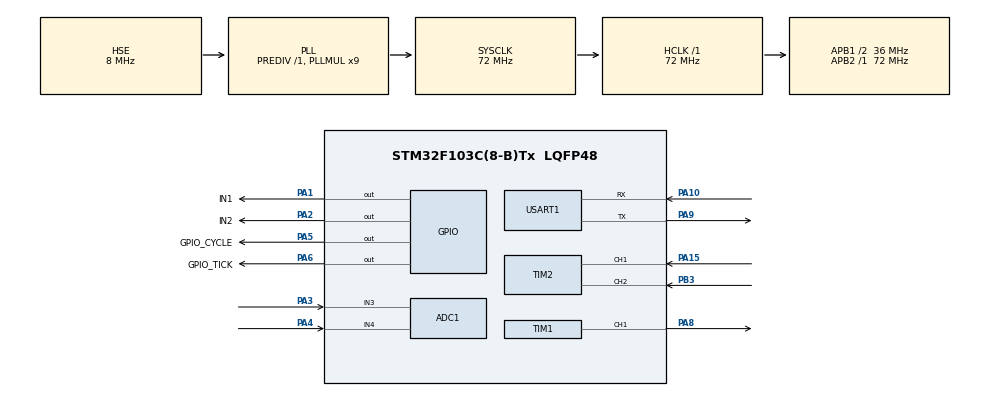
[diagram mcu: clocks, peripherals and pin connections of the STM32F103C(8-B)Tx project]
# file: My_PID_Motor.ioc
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ADC1.Channel-0\#ChannelRegularConversion=ADC_CHANNEL_3
ADC1.Channel-1\#ChannelRegularConversion=ADC_CHANNEL_4
ADC1.ContinuousConvMode=ENABLE
ADC1.NbrOfConversion=2
ADC1.NbrOfConversionFlag=1
ADC1.Rank-0\#ChannelRegularConversion=1
ADC1.Rank-1\#ChannelRegularConversion=2
ADC1.SamplingTime-0\#ChannelRegularConversion=ADC_SAMPLETIME_71CYCLES_5
ADC1.SamplingTime-1\#ChannelRegularConversion=ADC_SAMPLETIME_71CYCLES_5
ADC1.master=1
Dma.ADC1.0.Direction=DMA_PERIPH_TO_MEMORY
Dma.ADC1.0.Instance=DMA1_Channel1
Dma.ADC1.0.MemDataAlignment=DMA_MDATAALIGN_HALFWORD
Dma.ADC1.0.MemInc=DMA_MINC_ENABLE
Dma.ADC1.0.Mode=DMA_CIRCULAR
Dma.ADC1.0.PeriphDataAlignment=DMA_PDATAALIGN_HALFWORD
Dma.ADC1.0.PeriphInc=DMA_PINC_DISABLE
Dma.ADC1.0.Priority=DMA_PRIORITY_LOW
Dma.Request0=ADC1
FREERTOS.BinarySemaphores01=s_tx_done_Sem,Dynamic,NULL,Available
FREERTOS.Queues01=ControlCmdQueue,16,App_Cmd_t*,0,Dynamic,NULL,NULL;CommTxQueue,8,Comm_Message_t,0,Dynamic,NULL,NULL;NvRequestQueue,2,NvRequest_t,0,Dynamic,NULL,NULL
FREERTOS.Tasks01=LogTask,8,256,StartLogTask,As weak,NULL,Dynamic,NULL,NULL;ControlTask,32,256,StartControlTask,As weak,NULL,Dynamic,NULL,NULL;CmdTask,24,256,StartCmdTask,As weak,NULL,Dynamic,NULL,NULL;NvTask,16,256,StartNvTask,As weak,NULL,Dynamic,NULL,NULL;CommTxTask,24,320,StartCommTxTask,As weak,NULL,Dynamic,NULL,NULL
FREERTOS.configCHECK_FOR_STACK_OVERFLOW=2
FREERTOS.configTOTAL_HEAP_SIZE=8192
FREERTOS.configUSE_NEWLIB_REENTRANT=1
Mcu.Family=STM32F1
Mcu.Name=STM32F103C(8-B)Tx
Mcu.Package=LQFP48
NVIC.DMA1_Channel1_IRQn=true\:5\:0\:false\:false\:true\:true\:false\:true\:true
NVIC.PriorityGroup=NVIC_PRIORITYGROUP_4
NVIC.TIM4_IRQn=true\:15\:0\:false\:false\:true\:false\:false\:true\:true
NVIC.TimeBase=TIM4_IRQn
NVIC.TimeBaseIP=TIM4
NVIC.USART1_IRQn=true\:5\:0\:false\:false\:true\:true\:true\:true\:true
PA1.GPIO_Label=IN1
PA1.Signal=GPIO_Output
PA10.Mode=Asynchronous
PA10.Signal=USART1_RX
PA13.Mode=Serial_Wire
PA13.Signal=SYS_JTMS-SWDIO
PA14.Mode=Serial_Wire
PA14.Signal=SYS_JTCK-SWCLK
PA15.GPIO_PuPd=GPIO_PULLUP
PA15.Signal=S_TIM2_CH1_ETR
PA2.GPIO_Label=IN2
PA2.Signal=GPIO_Output
PA3.Signal=ADCx_IN3
PA4.Signal=ADCx_IN4
PA5.GPIO_Label=GPIO_CYCLE
PA5.Signal=GPIO_Output
PA6.GPIO_Label=GPIO_TICK
PA6.Signal=GPIO_Output
PA8.Signal=S_TIM1_CH1
PA9.Mode=Asynchronous
PA9.Signal=USART1_TX
PB3.GPIO_PuPd=GPIO_PULLUP
PB3.Signal=S_TIM2_CH2
PD0-OSC_IN.Mode=HSE-External-Oscillator
PD0-OSC_IN.Signal=RCC_OSC_IN
PD1-OSC_OUT.Mode=HSE-External-Oscillator
PD1-OSC_OUT.Signal=RCC_OSC_OUT
ProjectManager.HeapSize=0x200
ProjectManager.StackSize=0x400
ProjectManager.TargetToolchain=STM32CubeIDE
RCC.ADCPresc=RCC_ADCPCLK2_DIV6
RCC.AHBFreq_Value=72000000
RCC.APB1CLKDivider=RCC_HCLK_DIV2
RCC.APB1Freq_Value=36000000
RCC.APB1TimFreq_Value=72000000
RCC.APB2Freq_Value=72000000
RCC.APB2TimFreq_Value=72000000
RCC.HCLKFreq_Value=72000000
RCC.PLLMUL=RCC_PLL_MUL9
RCC.PLLSourceVirtual=RCC_PLLSOURCE_HSE
RCC.SYSCLKFreq_VALUE=72000000
RCC.SYSCLKSource=RCC_SYSCLKSOURCE_PLLCLK
RCC.USBFreq_Value=72000000
SH.ADCx_IN3.0=ADC1_IN3,IN3
SH.ADCx_IN4.0=ADC1_IN4,IN4
SH.S_TIM1_CH1.0=TIM1_CH1,PWM Generation1 CH1
SH.S_TIM2_CH1_ETR.0=TIM2_CH1,Encoder_Interface
SH.S_TIM2_CH2.0=TIM2_CH2,Encoder_Interface
TIM1.Channel-PWM\ Generation1\ CH1=TIM_CHANNEL_1
TIM1.Period=3600-1
TIM1.Prescaler=0
TIM2.EncoderMode=TIM_ENCODERMODE_TI12
TIM2.IC1Filter=15
TIM2.IC2Filter=15
USART1.VirtualMode=VM_ASYNC
VP_FREERTOS_VS_CMSIS_V2.Mode=CMSIS_V2
VP_SYS_VS_tim4.Mode=TIM4
VP_TIM1_VS_ClockSourceINT.Mode=Internal
board=custom

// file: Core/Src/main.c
/* USER CODE BEGIN Header */
/**
  ******************************************************************************
  * @file           : main.c
  * @brief          : Main program body
  ******************************************************************************
  * @attention
  *
  * Copyright (c) 2026 STMicroelectronics.
  * All rights reserved.
  *
  * This software is licensed under terms that can be found in the LICENSE file
  * in the root directory of this software component.
  * If no LICENSE file comes with this software, it is provided AS-IS.
  *
  ******************************************************************************
  */
/* USER CODE END Header */
#include "main.h"
#include "cmsis_os.h"
#include "adc.h"
#include "dma.h"
#include "tim.h"
#include "usart.h"
#include "gpio.h"

/* USER CODE BEGIN Includes */
#include "Motor.h"
#include "Encoder.h"
#include "Control.h"
#include "Uart.h"
/* USER CODE END Includes */

void SystemClock_Config(void);
void MX_FREERTOS_Init(void);

int main(void)
{

  /* MCU Configuration--------------------------------------------------------*/

  /* Reset of all peripherals, Initializes the Flash interface and the Systick. */
  HAL_Init();

  /* Configure the system clock */
  SystemClock_Config();

  /* USER CODE BEGIN SysInit */

  //开启DWT_CYCCNT周期计数器
  CoreDebug->DEMCR |= CoreDebug_DEMCR_TRCENA_Msk;
  DWT->CYCCNT = 0;
  DWT->CTRL |= DWT_CTRL_CYCCNTENA_Msk;

  /* USER CODE END SysInit */

  /* Initialize all configured peripherals */
  MX_GPIO_Init();
  MX_DMA_Init();
  MX_TIM1_Init();
  MX_TIM2_Init();
  MX_USART1_UART_Init();
  MX_ADC1_Init();
  /* USER CODE BEGIN 2 */
  Motor_Init();
  Encoder_Init();
  Control_Init();
  Uart_Init();

  /* USER CODE END 2 */

  /* Init scheduler */
  osKernelInitialize();  /* Call init function for freertos objects (in cmsis_os2.c) */
  MX_FREERTOS_Init();

  /* Start scheduler */
  osKernelStart();

  /* We should never get here as control is now taken by the scheduler */

  /* Infinite loop */
  while (1)
  {

  }
}

void SystemClock_Config(void)
{
  RCC_OscInitTypeDef RCC_OscInitStruct = {0};
  RCC_ClkInitTypeDef RCC_ClkInitStruct = {0};
  RCC_PeriphCLKInitTypeDef PeriphClkInit = {0};

  /** Initializes the RCC Oscillators according to the specified parameters
  * in the RCC_OscInitTypeDef structure.
  */
  RCC_OscInitStruct.OscillatorType = RCC_OSCILLATORTYPE_HSE;
  RCC_OscInitStruct.HSEState = RCC_HSE_ON;
  RCC_OscInitStruct.HSEPredivValue = RCC_HSE_PREDIV_DIV1;
  RCC_OscInitStruct.HSIState = RCC_HSI_ON;
  RCC_OscInitStruct.PLL.PLLState = RCC_PLL_ON;
  RCC_OscInitStruct.PLL.PLLSource = RCC_PLLSOURCE_HSE;
  RCC_OscInitStruct.PLL.PLLMUL = RCC_PLL_MUL9;
  if (HAL_RCC_OscConfig(&RCC_OscInitStruct) != HAL_OK)
  {
    Error_Handler();
  }

  /** Initializes the CPU, AHB and APB buses clocks
  */
  RCC_ClkInitStruct.ClockType = RCC_CLOCKTYPE_HCLK|RCC_CLOCKTYPE_SYSCLK
                              |RCC_CLOCKTYPE_PCLK1|RCC_CLOCKTYPE_PCLK2;
  RCC_ClkInitStruct.SYSCLKSource = RCC_SYSCLKSOURCE_PLLCLK;
  RCC_ClkInitStruct.AHBCLKDivider = RCC_SYSCLK_DIV1;
  RCC_ClkInitStruct.APB1CLKDivider = RCC_HCLK_DIV2;
  RCC_ClkInitStruct.APB2CLKDivider = RCC_HCLK_DIV1;

  if (HAL_RCC_ClockConfig(&RCC_ClkInitStruct, FLASH_LATENCY_2) != HAL_OK)
  {
    Error_Handler();
  }
  PeriphClkInit.PeriphClockSelection = RCC_PERIPHCLK_ADC;
  PeriphClkInit.AdcClockSelection = RCC_ADCPCLK2_DIV6;
  if (HAL_RCCEx_PeriphCLKConfig(&PeriphClkInit) != HAL_OK)
  {
    Error_Handler();
  }
}

void HAL_TIM_PeriodElapsedCallback(TIM_HandleTypeDef *htim)
{
  if (htim->Instance == TIM4)
  {
    HAL_IncTick();
  }
}

void Error_Handler(void)
{
  __disable_irq();
  while (1)
  {
  }
}

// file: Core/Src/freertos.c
/* USER CODE BEGIN Header */
/**
  ******************************************************************************
  * File Name          : freertos.c
  * Description        : Code for freertos applications
  ******************************************************************************
  * @attention
  *
  * Copyright (c) 2026 STMicroelectronics.
  * All rights reserved.
  *
  * This software is licensed under terms that can be found in the LICENSE file
  * in the root directory of this software component.
  * If no LICENSE file comes with this software, it is provided AS-IS.
  *
  ******************************************************************************
  */
/* USER CODE END Header */

#include "FreeRTOS.h"
#include "task.h"
#include "main.h"
#include "cmsis_os.h"

/* USER CODE BEGIN Includes */
#include "Control.h"
#include "LogTask.h"
#include "app_config.h"
#include "Uart.h"
#include "Cmd_Service.h"
#include "Comm_Service.h"
#include "CmdPool.h"
#include "Nv_Service.h"
/* USER CODE END Includes */

/* Definitions for LogTask */
osThreadId_t LogTaskHandle;
const osThreadAttr_t LogTask_attributes = {
  .name = "LogTask",
  .stack_size = 256 * 4,
  .priority = (osPriority_t) osPriorityLow,
};
/* Definitions for ControlTask */
osThreadId_t ControlTaskHandle;
const osThreadAttr_t ControlTask_attributes = {
  .name = "ControlTask",
  .stack_size = 256 * 4,
  .priority = (osPriority_t) osPriorityAboveNormal,
};
/* Definitions for CmdTask */
osThreadId_t CmdTaskHandle;
const osThreadAttr_t CmdTask_attributes = {
  .name = "CmdTask",
  .stack_size = 256 * 4,
  .priority = (osPriority_t) osPriorityNormal,
};
/* Definitions for NvTask */
osThreadId_t NvTaskHandle;
const osThreadAttr_t NvTask_attributes = {
  .name = "NvTask",
  .stack_size = 256 * 4,
  .priority = (osPriority_t) osPriorityBelowNormal,
};
/* Definitions for CommTxTask */
osThreadId_t CommTxTaskHandle;
const osThreadAttr_t CommTxTask_attributes = {
  .name = "CommTxTask",
  .stack_size = 320 * 4,
  .priority = (osPriority_t) osPriorityNormal,
};
/* Definitions for ControlCmdQueue */
osMessageQueueId_t ControlCmdQueueHandle;
const osMessageQueueAttr_t ControlCmdQueue_attributes = {
  .name = "ControlCmdQueue"
};
/* Definitions for CommTxQueue */
osMessageQueueId_t CommTxQueueHandle;
const osMessageQueueAttr_t CommTxQueue_attributes = {
  .name = "CommTxQueue"
};
/* Definitions for NvRequestQueue */
osMessageQueueId_t NvRequestQueueHandle;
const osMessageQueueAttr_t NvRequestQueue_attributes = {
  .name = "NvRequestQueue"
};
/* Definitions for s_tx_done_Sem */
osSemaphoreId_t s_tx_done_SemHandle;
const osSemaphoreAttr_t s_tx_done_Sem_attributes = {
  .name = "s_tx_done_Sem"
};

void StartLogTask(void *argument);
void StartControlTask(void *argument);
void StartCmdTask(void *argument);
void StartNvTask(void *argument);
void StartCommTxTask(void *argument);

void MX_FREERTOS_Init(void); /* (MISRA C 2004 rule 8.1) */

/* Hook prototypes */
void vApplicationStackOverflowHook(xTaskHandle xTask, signed char *pcTaskName);

/* USER CODE BEGIN 4 */
void vApplicationStackOverflowHook(xTaskHandle xTask, signed char *pcTaskName)
{
   /* Run time stack overflow checking is performed if
   configCHECK_FOR_STACK_OVERFLOW is defined to 1 or 2. This hook function is
   called if a stack overflow is detected. */
	volatile TaskHandle_t overflow_task_handle=xTask;
	volatile signed char* overflow_task_name=pcTaskName;
	(void)overflow_task_handle;
	(void)overflow_task_name;
	taskDISABLE_INTERRUPTS();
	while(1){

	}
}
/* USER CODE END 4 */

void MX_FREERTOS_Init(void) {

  /* Create the semaphores(s) */
  /* creation of s_tx_done_Sem */
  s_tx_done_SemHandle = osSemaphoreNew(1, 1, &s_tx_done_Sem_attributes);

  /* Create the queue(s) */
  /* creation of ControlCmdQueue */
  ControlCmdQueueHandle = osMessageQueueNew (16, sizeof(App_Cmd_t*), &ControlCmdQueue_attributes);

  /* creation of CommTxQueue */
  CommTxQueueHandle = osMessageQueueNew (8, sizeof(Comm_Message_t), &CommTxQueue_attributes);

  /* creation of NvRequestQueue */
  NvRequestQueueHandle = osMessageQueueNew (2, sizeof(NvRequest_t), &NvRequestQueue_attributes);

  /* USER CODE BEGIN RTOS_QUEUES */
  /* add queues, ... */
  CmdPool_Init();
  /* USER CODE END RTOS_QUEUES */

  /* Create the thread(s) */
  /* creation of LogTask */
  LogTaskHandle = osThreadNew(StartLogTask, NULL, &LogTask_attributes);

  /* creation of ControlTask */
  ControlTaskHandle = osThreadNew(StartControlTask, NULL, &ControlTask_attributes);

  /* creation of CmdTask */
  CmdTaskHandle = osThreadNew(StartCmdTask, NULL, &CmdTask_attributes);

  /* creation of NvTask */
  NvTaskHandle = osThreadNew(StartNvTask, NULL, &NvTask_attributes);

  /* creation of CommTxTask */
  CommTxTaskHandle = osThreadNew(StartCommTxTask, NULL, &CommTxTask_attributes);

}

__weak void StartLogTask(void *argument)
{
  for(;;)
  {
  }
}

__weak void StartControlTask(void *argument)
{
  for(;;)
  {
  }
}

__weak void StartCmdTask(void *argument)
{
  for(;;)
  {
    osDelay(1);
  }
}

__weak void StartNvTask(void *argument)
{
  for(;;)
  {
    osDelay(1);
  }
}

__weak void StartCommTxTask(void *argument)
{
  for(;;)
  {
    osDelay(1);
  }
}
